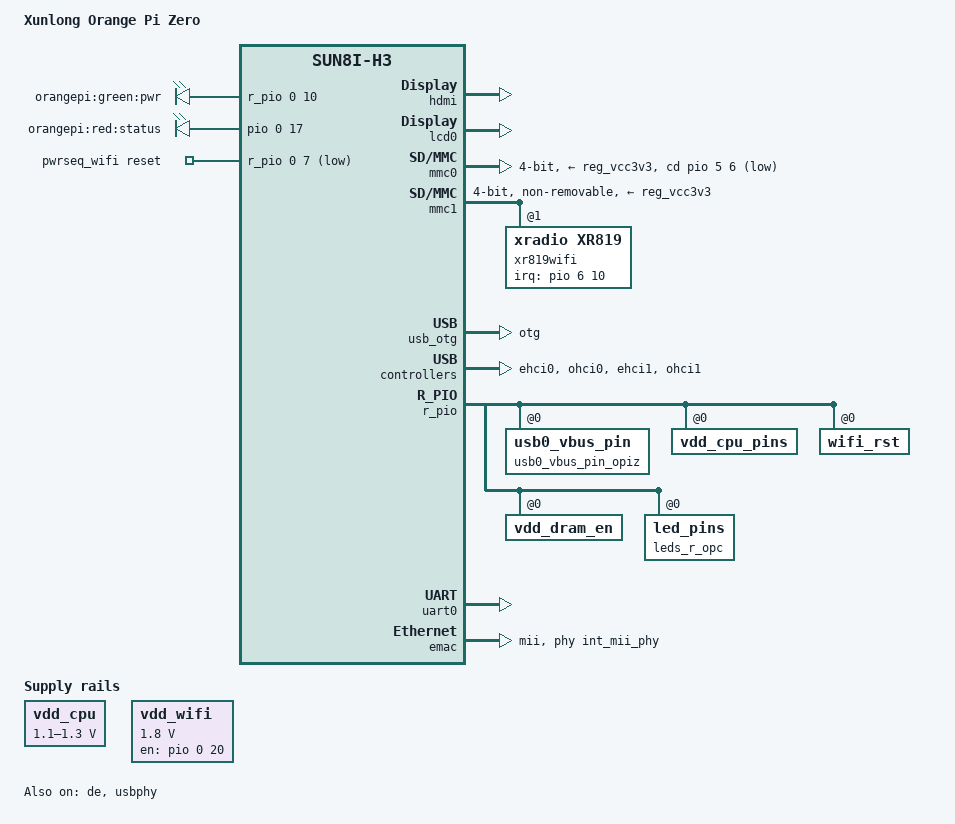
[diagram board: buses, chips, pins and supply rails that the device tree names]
/*
 * Copyright (C) 2016 Skittles
 *
 */

/dts-v1/;
#include "sun8i-h3.dtsi"
#include "sunxi-common-regulators.dtsi"

#include <dt-bindings/gpio/gpio.h>
#include <dt-bindings/input/input.h>
#include <dt-bindings/pinctrl/sun4i-a10.h>
#include <dt-bindings/thermal/thermal.h>

/ {
	model = "Xunlong Orange Pi Zero";
	compatible = "xunlong,orangepi-zero", "allwinner,sun8i-h3";

	aliases {
		serial0 = &uart0;
		ethernet0 = &emac;
	};

	chosen {
		stdout-path = "serial0:115200n8";
	};

	leds {
		compatible = "gpio-leds";
		pinctrl-names = "default";
		pinctrl-0 = <&leds_opc>, <&leds_r_opc>;

		pwr_led {
			label = "orangepi:green:pwr";
			gpios = <&r_pio 0 10 GPIO_ACTIVE_HIGH>;
			default-state = "on";
			panic-indicator;
		};

		status_led {
			label = "orangepi:red:status";
			gpios = <&pio 0 17 GPIO_ACTIVE_HIGH>;
			/* double flash at a load average based rate */
			linux,default_trigger = "heartbeat";
			default-state = "off";
		};
	};

/*
	vdd_io: vdd_io {
		compatible = "regulator-fixed";
		regulator-name = "io";
		regulator-min-microvolt = <3300000>;
		regulator-max-microvolt = <3300000>;
		gpio = <&r_pio 0 5 GPIO_ACTIVE_LOW>;
		enable-active-low;
		regulator-boot-on;
		regulator-always-on;
        };
*/
	vdd_cpu: vdd_cpu {
		compatible = "regulator-gpio";
		pinctrl-names = "default";
		pinctrl-0 = <&vdd_cpu_pins>;

		regulator-name = "cpu-core";
		regulator-min-microvolt = <1100000>;
		regulator-max-microvolt = <1300000>;
		regulator-boot-on;
		regulator-always-on;
//		regulator-enable-ramp-delay = <200>; /* 1ms */

		gpios = <&r_pio 0 6 GPIO_ACTIVE_HIGH>;
//		enable-gpio = <&r_pio 0 8 GPIO_ACTIVE_HIGH>;
		states = <1100000 0x0
			1300000 0x1>;

		startup-delay-us = <100000>;
		enable-active-high;
	};

/*	vdd_dram: vdd_dram {
		compatible = "regulator-fixed";
		pinctrl-names = "default";
		pinctrl-0 = <&vdd_dram_en>;
		regulator-name = "dram";
		regulator-min-microvolt = <1500000>;
		regulator-max-microvolt = <1500000>;
		gpio = <&r_pio 0 9 GPIO_ACTIVE_HIGH>;
		enable-active-high;
		regulator-boot-on;
		regulator-always-on;
	};*/

	vdd_wifi: vdd_wifi {   
                compatible = "regulator-fixed";
                regulator-name = "wifi";
                regulator-min-microvolt = <1800000>;
                regulator-max-microvolt = <1800000>;
                gpio = <&pio 0 20 GPIO_ACTIVE_HIGH>;
                startup-delay-us = <70000>;
                enable-active-high;
        };

	pwrseq_wifi: pwrseq_wifi@0 {
		compatible = "mmc-pwrseq-simple";
		pinctrl-names = "default";
		pinctrl-0 = <&wifi_rst>;	
		reset-gpios = <&r_pio 0 7 GPIO_ACTIVE_LOW>;
		post-power-on-delay-ms = <50>;
	};

};

&cpu0 {
	operating-points = <
		/* kHz	  uV */
		1200000 1300000
		1008000	1300000
		960000	1300000
		816000	1100000
		624000	1100000
		480000	1100000
		408000	1100000
		312000	1100000
		240000	1100000
		120000	1100000
		>;
	#cooling-cells = <2>;
	cooling-min-level = <0>;
	cooling-max-level = <8>;
	cpu0-supply = <&vdd_cpu>;
};

&cpu_thermal {
	trips {
		cpu_warm: cpu_warm {
			temperature = <60000>;
			hysteresis = <2000>;
			type = "passive";
		};
		cpu_hot: cpu_hot {
			temperature = <70000>;
			hysteresis = <2000>;
			type = "passive";
		};
		cpu_very_hot: cpu_very_hot {
			temperature = <80000>;
			hysteresis = <2000>;
			type = "passive";
		};
		cpu_crit: cpu_crit {
			temperature = <90000>;
			hysteresis = <2000>;
			type = "critical";
		};
	};

	cooling-maps {
		cpu_warm_limit_cpu {
			trip = <&cpu_warm>;
			cooling-device = <&cpu0 THERMAL_NO_LIMIT 2>;
		};
		cpu_hot_limit_cpu {
			trip = <&cpu_hot>;
			cooling-device = <&cpu0 2 4>;
		};
		cpu_very_hot_limit_cpu {
			trip = <&cpu_very_hot>;
			cooling-device = <&cpu0 6 THERMAL_NO_LIMIT>;
		};
	};
};

&hdmi {
	status = "okay";
};

&lcd0 {
	status = "okay";
};

&mmc0 {
	pinctrl-names = "default";
	pinctrl-0 = <&mmc0_pins_a>, <&mmc0_cd_pin>;
	vmmc-supply = <&reg_vcc3v3>;
	bus-width = <4>;
	cd-gpios = <&pio 5 6 GPIO_ACTIVE_HIGH>; /* PF6 */
	cd-inverted;
	status = "okay";
};

&mmc1 {
	pinctrl-names = "default";
	pinctrl-0 = <&mmc1_pins_a>;
	vqmmc-supply = <&vdd_wifi>;
	vmmc-supply = <&reg_vcc3v3>;
	bus-width = <4>;
	mmc-pwrseq = <&pwrseq_wifi>;
	non-removable;
	status = "okay";

	xr819wifi: xr819wifi@1 {
                reg = <1>;
                compatible = "xradio,xr819";
		pinctrl-names = "default";
                pinctrl-0 = <&wifi_wake>;
                interrupt-parent = <&pio>;
		interrupts = <6 10 IRQ_TYPE_EDGE_RISING>;
		interrupt-names = "host-wake";
		local-mac-address = [dc 44 6d c0 ff ee]; 
	};
};

&de {
	status = "okay";
};

/* USB OTG */
&usb_otg {
	dr_mode = "otg";
	status = "okay";
};

/* USB */
&ehci0 {
        status = "okay";
};


&ohci0 {
        status = "okay";
};

&ehci1 {
        status = "okay";
};


&ohci1 {
        status = "okay";
};

&reg_usb0_vbus {
        pinctrl-0 = <&usb0_vbus_pin_opiz>;
        gpio = <&r_pio 0 2 GPIO_ACTIVE_HIGH>; /* PL2 */
        status = "okay";
};

&usbphy {
        /* USB VBUS is always on except for the OTG port */
        status = "okay";
        pinctrl-names = "default";
        pinctrl-0 = <&usb0_id_detect_pin>;
        usb0_id_det-gpios = <&pio 6 12 GPIO_ACTIVE_HIGH>; /* PG12 */
        usb0_vbus-supply = <&reg_usb0_vbus>;
};

&pio {
	leds_opc: led_pins@0 {
		allwinner,pins = "PA17";
		allwinner,function = "gpio_out";
		allwinner,drive = <SUN4I_PINCTRL_10_MA>;
		allwinner,pull = <SUN4I_PINCTRL_NO_PULL>;
	};

	usb0_id_detect_pin: usb0_id_detect_pin@0 {
                allwinner,pins = "PG12";
                allwinner,function = "gpio_in";
                allwinner,drive = <SUN4I_PINCTRL_10_MA>;
                allwinner,pull = <SUN4I_PINCTRL_NO_PULL>;
        };

	wifi_wake: wifi_wake@0 {
		allwinner,pins = "PG10";
                allwinner,function = "irq";
                allwinner,pull = <SUN4I_PINCTRL_NO_PULL>;
	};
};

&r_pio {
	usb0_vbus_pin_opiz: usb0_vbus_pin@0 {
                allwinner,pins = "PL2";
                allwinner,function = "gpio_out";
                allwinner,drive = <SUN4I_PINCTRL_10_MA>;
                allwinner,pull = <SUN4I_PINCTRL_NO_PULL>;
        };

	vdd_cpu_pins: vdd_cpu_pins@0 {
		allwinner,pins = "PL6";
                allwinner,function = "gpio_out";
                allwinner,drive = <SUN4I_PINCTRL_10_MA>;
                allwinner,pull = <SUN4I_PINCTRL_NO_PULL>;
	};

	wifi_rst: wifi_rst@0 {
		allwinner,pins = "PL7";
                allwinner,function = "gpio_out";
                allwinner,drive = <SUN4I_PINCTRL_10_MA>;
                allwinner,pull = <SUN4I_PINCTRL_NO_PULL>;
	};

	vdd_dram_en: vdd_dram_en@0 {
		allwinner,pins = "PL9";
		allwinner,function = "gpio_out";
		allwinner,drive = <SUN4I_PINCTRL_10_MA>;
		allwinner,pull = <SUN4I_PINCTRL_NO_PULL>;
	};

	leds_r_opc: led_pins@0 {
		allwinner,pins = "PL10";
		allwinner,function = "gpio_out";
		allwinner,drive = <SUN4I_PINCTRL_10_MA>;
		allwinner,pull = <SUN4I_PINCTRL_NO_PULL>;
	};
};

&uart0 {
	pinctrl-names = "default";
	pinctrl-0 = <&uart0_pins_a>;
	status = "okay";
};

&uart1 {
	pinctrl-names = "default";
	pinctrl-0 = <&uart1_pins>;
	status = "disabled";
};

&uart2 {
	pinctrl-names = "default";
	pinctrl-0 = <&uart2_pins>;
	status = "disabled";
};

&uart3 {
	pinctrl-names = "default";
	pinctrl-0 = <&uart3_pins>;
	status = "disabled";
};

&emac {
	phy-handle = <&int_mii_phy>;
	phy-mode = "mii";
	allwinner,leds-active-low;
	status = "okay";
};

